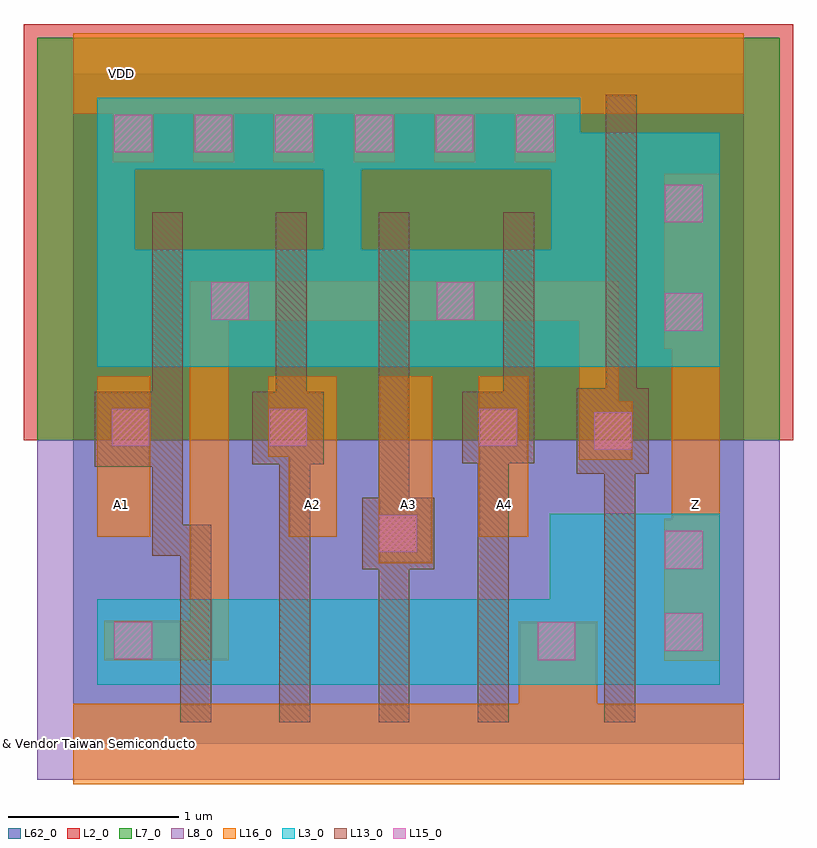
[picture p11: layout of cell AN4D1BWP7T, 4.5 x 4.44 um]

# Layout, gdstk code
import gdstk
lib = gdstk.Library(unit=1e-6, precision=1e-09)
def R(c, l, rs):  # rectangles x0, y0, x1, y1
    for r in rs: c.add(gdstk.rectangle(r[:2], r[2:], *l))
def A(c, l, x, y, w, h, nx, ny, dx, dy):  # array of equal rectangles
    R(c, l, [(x+i*dx, y+j*dy, x+i*dx+w, y+j*dy+h) for i in range(nx) for j in range(ny)])
def P(c, l, *ps):  # polygons
    for p in ps: c.add(gdstk.Polygon(p, *l))
L2_0 = (2, 0)
L3_0 = (3, 0)
L7_0 = (7, 0)
L8_0 = (8, 0)
L13_0 = (13, 0)
L15_0 = (15, 0)
L16_0 = (16, 0)
L62_0 = (62, 0)

an4d1bwp7t = lib.new_cell('AN4D1BWP7T')
R(an4d1bwp7t, L2_0, [(-0.29,1.775,4.21,4.21)])
P(an4d1bwp7t, L3_0, [(0.14,0.345),(0.14,0.845),(2.785,0.845),(2.785,1.345),(3.78,1.345),(3.78,0.345)],
  [(0.14,2.205),(0.14,3.78),(2.965,3.78),(2.965,3.575),(3.78,3.575),(3.78,3.125),(2.795,3.125),(2.795,3.36),(1.685,3.36),(1.685,3.125),(1.465,3.125),(1.465,3.36),(0.36,3.36),(0.36,2.89),(1.465,2.89),(1.465,3.125),(1.685,3.125),(1.685,2.89),(2.795,2.89),(2.795,3.125),(3.78,3.125),(3.78,2.205)])
R(an4d1bwp7t, L7_0, [(-0.21,1.775,4.13,4.13)])
R(an4d1bwp7t, L8_0, [(-0.21,-0.21,4.13,1.775)])
P(an4d1bwp7t, L13_0, [(0.625,0.125),(0.625,1.1),(0.46,1.1),(0.46,1.62),(0.125,1.62),(0.125,2.06),(0.46,2.06),(0.46,3.11),(0.64,3.11),(0.64,1.28),(0.805,1.28),(0.805,0.125)],
  [(3.105,0.125),(3.105,1.58),(2.945,1.58),(2.945,2.08),(3.115,2.08),(3.115,3.795),(3.295,3.795),(3.295,2.08),(3.365,2.08),(3.365,1.58),(3.285,1.58),(3.285,0.125)],
  [(2.365,0.125),(2.365,1.64),(2.275,1.64),(2.275,2.06),(2.515,2.06),(2.515,3.11),(2.695,3.11),(2.695,1.64),(2.545,1.64),(2.545,0.125)],
  [(1.785,0.125),(1.785,1.02),(1.69,1.02),(1.69,1.44),(1.785,1.44),(1.785,3.11),(1.965,3.11),(1.965,1.44),(2.11,1.44),(2.11,1.02),(1.965,1.02),(1.965,0.125)],
  [(1.205,0.125),(1.205,1.635),(1.045,1.635),(1.045,2.06),(1.185,2.06),(1.185,3.11),(1.365,3.11),(1.365,2.06),(1.465,2.06),(1.465,1.635),(1.385,1.635),(1.385,0.125)])
A(an4d1bwp7t, L15_0, 0.24, 3.46, 0.22, 0.22, 6, 1, 0.47, 0)
R(an4d1bwp7t, L15_0, [(2.715,0.49,2.935,0.71), (0.24,0.495,0.46,0.715), (3.46,0.545,3.68,0.765), (3.46,1.025,3.68,1.245), (1.79,1.12,2.01,1.34), (3.045,1.72,3.265,1.94), (0.225,1.74,0.445,1.96), (1.145,1.74,1.365,1.96), (2.375,1.74,2.595,1.96), (3.46,2.415,3.68,2.635), (0.805,2.48,1.025,2.7), (2.125,2.48,2.345,2.7), (3.46,3.05,3.68,3.27)])
R(an4d1bwp7t, L16_0, [(1.785,1.055,2.1,2.15), (0.14,1.21,0.45,2.15), (2.37,1.21,2.66,2.15)])
P(an4d1bwp7t, L16_0, [(0,-0.235),(0,0.235),(2.605,0.235),(2.605,0.715),(3.065,0.715),(3.065,0.235),(3.92,0.235),(3.92,-0.235)],
  [(0.23,3.4),(0.23,3.685),(0,3.685),(0,4.155),(3.92,4.155),(3.92,3.685),(2.82,3.685),(2.82,3.4),(2.58,3.4),(2.58,3.685),(2.35,3.685),(2.35,3.4),(2.11,3.4),(2.11,3.685),(1.88,3.685),(1.88,3.4),(1.64,3.4),(1.64,3.685),(1.41,3.685),(1.41,3.4),(1.17,3.4),(1.17,3.685),(0.94,3.685),(0.94,3.4),(0.7,3.4),(0.7,3.685),(0.47,3.685),(0.47,3.4)],
  [(3.455,0.485),(3.455,1.315),(3.5,1.315),(3.5,2.31),(3.455,2.31),(3.455,3.335),(3.78,3.335),(3.78,0.485)],
  [(0.18,0.49),(0.18,0.72),(0.68,0.72),(0.68,2.705),(3.19,2.705),(3.19,2.005),(3.27,2.005),(3.27,1.66),(2.96,1.66),(2.96,2.475),(0.91,2.475),(0.91,0.49)],
  [(1.26,1.21),(1.26,1.68),(1.14,1.68),(1.14,2.15),(1.54,2.15),(1.54,1.21)])
R(an4d1bwp7t, L62_0, [(0,0,3.92,3.92)])
an4d1bwp7t.add(gdstk.Label('& Vendor Taiwan Semiconductor Manufacturing Corp.', (0,0), layer=63, texttype=63))
an4d1bwp7t.add(gdstk.Label('& Product tcb018gbwp7t', (0,0), layer=63, texttype=63))
an4d1bwp7t.add(gdstk.Label('& Version 270a', (0,0), layer=63, texttype=63))
an4d1bwp7t.add(gdstk.Label('& Metric 15.366', (0,0), layer=63, texttype=63))
an4d1bwp7t.add(gdstk.Label('& Distributor TSMC', (0,0), layer=63, texttype=63))
an4d1bwp7t.add(gdstk.Label('& SerialNumber 000000', (0,0), layer=63, texttype=63))
an4d1bwp7t.add(gdstk.Label('& _Instance_tag AN4D1BWP7T', (0,0), layer=63, texttype=63))
an4d1bwp7t.add(gdstk.Label('& Vendor Taiwan Semiconductor Manufacturing Corp.', (0,0), layer=11, texttype=0))
an4d1bwp7t.add(gdstk.Label('& Product tcb018gbwp7t', (0,0), layer=11, texttype=0))
an4d1bwp7t.add(gdstk.Label('& Version 270a', (0,0), layer=11, texttype=0))
an4d1bwp7t.add(gdstk.Label('& Metric 15.366', (0,0), layer=11, texttype=0))
an4d1bwp7t.add(gdstk.Label('& Distributor TSMC', (0,0), layer=11, texttype=0))
an4d1bwp7t.add(gdstk.Label('& SerialNumber 000000', (0,0), layer=11, texttype=0))
an4d1bwp7t.add(gdstk.Label('& _Instance_tag AN4D1BWP7T', (0,0), layer=11, texttype=0))
an4d1bwp7t.add(gdstk.Label('AN4D1BWP7T', (0,0), layer=59, texttype=0))
an4d1bwp7t.add(gdstk.Label('VSS', (0.28,0), layer=40, texttype=0))
an4d1bwp7t.add(gdstk.Label('A1', (0.28,1.4), layer=40, texttype=0))
an4d1bwp7t.add(gdstk.Label('VDD', (0.28,3.92), layer=40, texttype=0))
an4d1bwp7t.add(gdstk.Label('A2', (1.4,1.4), layer=40, texttype=0))
an4d1bwp7t.add(gdstk.Label('A3', (1.96,1.4), layer=40, texttype=0))
an4d1bwp7t.add(gdstk.Label('A4', (2.52,1.4), layer=40, texttype=0))
an4d1bwp7t.add(gdstk.Label('Z', (3.64,1.4), layer=40, texttype=0))

lib.write_gds('AN4D1BWP7T.gds')
